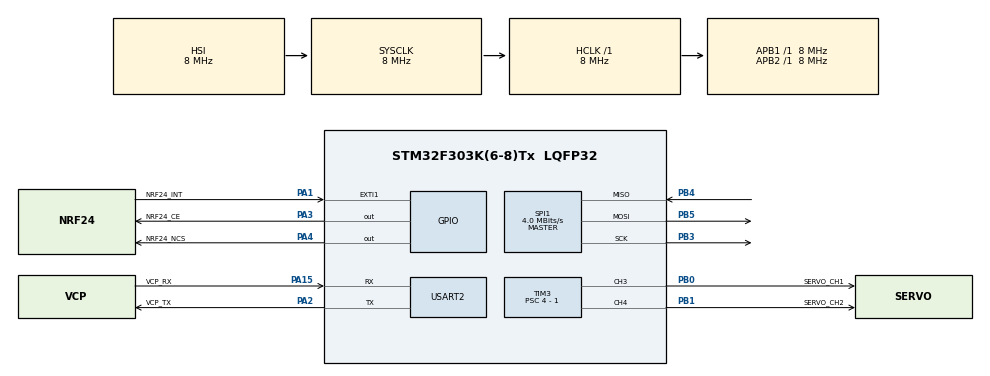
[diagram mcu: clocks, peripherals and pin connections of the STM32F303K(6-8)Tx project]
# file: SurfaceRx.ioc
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Mcu.Family=STM32F3
Mcu.Name=STM32F303K(6-8)Tx
Mcu.Package=LQFP32
NVIC.EXTI1_IRQn=true\:0\:0\:false\:false\:true\:true\:true\:true
NVIC.PriorityGroup=NVIC_PRIORITYGROUP_4
NVIC.TIM1_UP_TIM16_IRQn=true\:4\:0\:true\:false\:true\:true\:true\:true
PA1.GPIO_Label=NRF24_INT
PA1.GPIO_ModeDefaultEXTI=GPIO_MODE_IT_FALLING
PA1.Signal=GPXTI1
PA13.GPIO_Label=SWDIO
PA13.Mode=Serial_Wire
PA13.Signal=SYS_JTMS-SWDIO
PA14.GPIO_Label=SWCLK
PA14.Mode=Serial_Wire
PA14.Signal=SYS_JTCK-SWCLK
PA15.GPIO_Label=VCP_RX
PA15.Mode=Asynchronous
PA15.Signal=USART2_RX
PA2.GPIO_Label=VCP_TX
PA2.Mode=Asynchronous
PA2.Signal=USART2_TX
PA3.GPIO_Label=NRF24_CE
PA3.Signal=GPIO_Output
PA4.GPIO_Label=NRF24_NCS
PA4.PinState=GPIO_PIN_SET
PA4.Signal=GPIO_Output
PB0.GPIO_Label=SERVO_CH1
PB0.Signal=S_TIM3_CH3
PB1.GPIO_Label=SERVO_CH2
PB1.Signal=S_TIM3_CH4
PB3.GPIO_Speed=GPIO_SPEED_FREQ_HIGH
PB3.Mode=Full_Duplex_Master
PB3.Signal=SPI1_SCK
PB4.Mode=Full_Duplex_Master
PB4.Signal=SPI1_MISO
PB5.Mode=Full_Duplex_Master
PB5.Signal=SPI1_MOSI
PF0\ /\ OSC_IN.GPIO_Label=MCO
PF0\ /\ OSC_IN.Mode=HSE-External-Clock-Source
PF0\ /\ OSC_IN.Signal=RCC_OSC_IN
ProjectManager.HeapSize=0x200
ProjectManager.StackSize=0x400
ProjectManager.TargetToolchain=STM32CubeIDE
RCC.ADC12PRES=RCC_ADC12PLLCLK_DIV2
RCC.AHBFreq_Value=8000000
RCC.APB1Freq_Value=8000000
RCC.APB2Freq_Value=8000000
RCC.CortexFreq_Value=8000000
RCC.HSE_VALUE=8000000
RCC.HSI_VALUE=8000000
RCC.PLLMUL=RCC_PLL_MUL4
RCC.SYSCLKFreq_VALUE=8000000
SH.S_TIM3_CH3.0=TIM3_CH3,PWM Generation3 CH3
SH.S_TIM3_CH4.0=TIM3_CH4,PWM Generation4 CH4
SPI1.CalculateBaudRate=4.0 MBits/s
SPI1.DataSize=SPI_DATASIZE_8BIT
SPI1.Direction=SPI_DIRECTION_2LINES
SPI1.Mode=SPI_MODE_MASTER
SPI1.NSSPMode=SPI_NSS_PULSE_DISABLE
SPI1.VirtualType=VM_MASTER
TIM1.AutoReloadPreload=TIM_AUTORELOAD_PRELOAD_ENABLE
TIM1.Period=50000-1
TIM1.Prescaler=8-1
TIM3.AutoReloadPreload=TIM_AUTORELOAD_PRELOAD_ENABLE
TIM3.Channel-PWM\ Generation3\ CH3=TIM_CHANNEL_3
TIM3.Channel-PWM\ Generation4\ CH4=TIM_CHANNEL_4
TIM3.Period=40000 - 1
TIM3.Prescaler=4 - 1
USART2.VirtualMode-Asynchronous=VM_ASYNC
VP_TIM1_VS_ClockSourceINT.Mode=Internal
VP_TIM3_VS_ClockSourceINT.Mode=Internal
board=NUCLEO-F303K8

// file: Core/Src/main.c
/* USER CODE BEGIN Header */
/**
  ******************************************************************************
  * @file           : main.c
  * @brief          : Main program body
  ******************************************************************************
  * @attention
  *
  * Copyright (c) 2022 STMicroelectronics.
  * All rights reserved.
  *
  * This software is licensed under terms that can be found in the LICENSE file
  * in the root directory of this software component.
  * If no LICENSE file comes with this software, it is provided AS-IS.
  *
  ******************************************************************************
  */
/* USER CODE END Header */
#include "main.h"
#include "spi.h"
#include "tim.h"
#include "usart.h"
#include "gpio.h"

/* USER CODE BEGIN Includes */
//#include "retarget.h"
#include "devices/servo.h"
#include "devices/radio/receiver.h"
/* USER CODE END Includes */

/* USER CODE BEGIN PD */
#define NUM_SERVO NUM_ANALOG_CH
/* USER CODE END PD */

/* USER CODE BEGIN PV */
Receiver_t rx;
Servo_t servo[NUM_SERVO];

GPIO_t ncsGpio = {
		  .port = NRF24_NCS_GPIO_Port,
		  .pin = NRF24_NCS_Pin
};
GPIO_t ceGpio = {
		  .port = NRF24_CE_GPIO_Port,
		  .pin = NRF24_CE_Pin
};

bool failSafeActive;

/* USER CODE END PV */

void SystemClock_Config(void);

/* USER CODE BEGIN 0 */
void HAL_GPIO_EXTI_Callback(uint16_t GPIO_Pin) {
	if(GPIO_Pin == NRF24_INT_Pin) {
		ProcessRxPacket(&rx);
		__HAL_TIM_SET_COUNTER(&htim1, 0);
		failSafeActive = false;
		for(int i = 0; i < NUM_SERVO; i++) {
			SetServoPosition(&servo[i], GetRxChannelAt(&rx, i));
		}
	}
}

void HAL_TIM_PeriodElapsedCallback(TIM_HandleTypeDef *htim) {
	if(htim == &htim1) {
		failSafeActive = true;
		SetServoPosition(&servo[0], 367);
	}
}

/* USER CODE END 0 */

int main(void)
{

  /* MCU Configuration--------------------------------------------------------*/

  /* Reset of all peripherals, Initializes the Flash interface and the Systick. */
  HAL_Init();

  /* Configure the system clock */
  SystemClock_Config();

  /* Initialize all configured peripherals */
  MX_GPIO_Init();
  MX_TIM3_Init();
  MX_SPI1_Init();
  MX_USART2_UART_Init();
  MX_TIM1_Init();
  /* USER CODE BEGIN 2 */
 // RetargetInit(&huart2);

  //initialize and center servos
  InitServo(&servo[0], &htim3, TIM_CHANNEL_3, SERVO_POSITION_MAX/2);
  InitServo(&servo[1], &htim3, TIM_CHANNEL_4, SERVO_POSITION_MAX/2);

  //initialize receiver
  InitRx(&rx, &hspi1, &ncsGpio, &ceGpio);

  /* USER CODE END 2 */

  /* Infinite loop */
  /* USER CODE BEGIN WHILE */
  HAL_TIM_PWM_Start(&htim3, TIM_CHANNEL_3);
  HAL_TIM_PWM_Start(&htim3, TIM_CHANNEL_4);
  failSafeActive = false;
  HAL_TIM_Base_Start_IT(&htim1);
  StartRxReceive(&rx);
  while (1)
  {
    /* USER CODE END WHILE */

  }
}

void SystemClock_Config(void)
{
  RCC_OscInitTypeDef RCC_OscInitStruct = {0};
  RCC_ClkInitTypeDef RCC_ClkInitStruct = {0};
  RCC_PeriphCLKInitTypeDef PeriphClkInit = {0};

  /** Initializes the RCC Oscillators according to the specified parameters
  * in the RCC_OscInitTypeDef structure.
  */
  RCC_OscInitStruct.OscillatorType = RCC_OSCILLATORTYPE_HSI;
  RCC_OscInitStruct.HSIState = RCC_HSI_ON;
  RCC_OscInitStruct.HSICalibrationValue = RCC_HSICALIBRATION_DEFAULT;
  RCC_OscInitStruct.PLL.PLLState = RCC_PLL_NONE;
  if (HAL_RCC_OscConfig(&RCC_OscInitStruct) != HAL_OK)
  {
    Error_Handler();
  }

  /** Initializes the CPU, AHB and APB buses clocks
  */
  RCC_ClkInitStruct.ClockType = RCC_CLOCKTYPE_HCLK|RCC_CLOCKTYPE_SYSCLK
                              |RCC_CLOCKTYPE_PCLK1|RCC_CLOCKTYPE_PCLK2;
  RCC_ClkInitStruct.SYSCLKSource = RCC_SYSCLKSOURCE_HSI;
  RCC_ClkInitStruct.AHBCLKDivider = RCC_SYSCLK_DIV1;
  RCC_ClkInitStruct.APB1CLKDivider = RCC_HCLK_DIV1;
  RCC_ClkInitStruct.APB2CLKDivider = RCC_HCLK_DIV1;

  if (HAL_RCC_ClockConfig(&RCC_ClkInitStruct, FLASH_LATENCY_0) != HAL_OK)
  {
    Error_Handler();
  }
  PeriphClkInit.PeriphClockSelection = RCC_PERIPHCLK_TIM1;
  PeriphClkInit.Tim1ClockSelection = RCC_TIM1CLK_HCLK;
  if (HAL_RCCEx_PeriphCLKConfig(&PeriphClkInit) != HAL_OK)
  {
    Error_Handler();
  }
}

void Error_Handler(void)
{
  __disable_irq();
  while (1)
  {
  }
}
